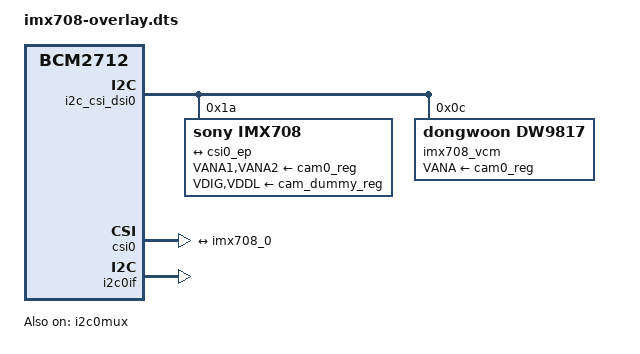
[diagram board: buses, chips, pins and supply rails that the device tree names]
/*
 * Pi Camera Module 3 (IMX708) Device Tree Overlay
 * Raspberry Pi 5 - MIPI CSI-2 with Autofocus
 */

/dts-v1/;
/plugin/;

/ {
    compatible = "brcm,bcm2712";
    
    fragment@0 {
        target = <&i2c_csi_dsi0>;
        __overlay__ {
            #address-cells = <1>;
            #size-cells = <0>;
            status = "okay";
            
            imx708: imx708@1a {
                compatible = "sony,imx708";
                reg = <0x1a>;
                status = "okay";
                
                clocks = <&cam0_clk>;
                clock-names = "xclk";
                
                VANA1-supply = <&cam0_reg>;
                VANA2-supply = <&cam0_reg>;
                VDIG-supply = <&cam_dummy_reg>;
                VDDL-supply = <&cam_dummy_reg>;
                
                rotation = <180>;
                orientation = <2>;
                
                /* Autofocus support */
                lens-focus = <&imx708_vcm>;
                
                port {
                    imx708_0: endpoint {
                        remote-endpoint = <&csi0_ep>;
                        clock-lanes = <0>;
                        data-lanes = <1 2>;
                        clock-noncontinuous;
                        link-frequencies = /bits/ 64 <450000000>;
                    };
                };
            };
            
            /* Voice Coil Motor for Autofocus */
            imx708_vcm: dw9817@c {
                compatible = "dongwoon,dw9817";
                reg = <0x0c>;
                status = "okay";
                VANA-supply = <&cam0_reg>;
            };
        };
    };
    
    fragment@1 {
        target = <&csi0>;
        __overlay__ {
            status = "okay";
            
            port {
                csi0_ep: endpoint {
                    remote-endpoint = <&imx708_0>;
                    data-lanes = <1 2>;
                };
            };
        };
    };
    
    fragment@2 {
        target = <&i2c0if>;
        __overlay__ {
            status = "okay";
        };
    };
    
    fragment@3 {
        target = <&i2c0mux>;
        __overlay__ {
            status = "okay";
        };
    };
    
    __overrides__ {
        rotation = <&imx708>,"rotation:0";
        orientation = <&imx708>,"orientation:0";
        media-controller = <&csi0>,"brcm,media-controller?";
        cam0 = <&imx708>, "status",
               <&imx708_vcm>, "status";
        vcm = <&imx708_vcm>, "status";
    };
};
